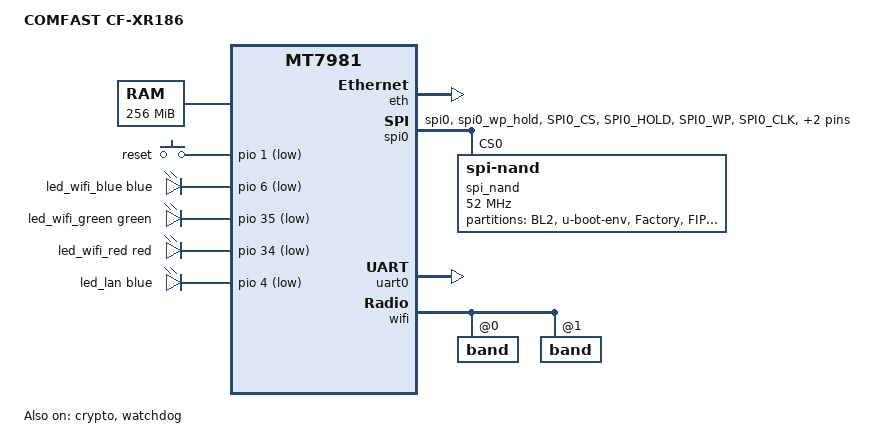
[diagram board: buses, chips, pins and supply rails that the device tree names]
// SPDX-License-Identifier: GPL-2.0-or-later OR MIT

/dts-v1/;
#include <dt-bindings/gpio/gpio.h>
#include <dt-bindings/input/input.h>
#include <dt-bindings/leds/common.h>

#include "mt7981b.dtsi"

/ {
	model = "COMFAST CF-XR186";
	compatible = "comfast,cf-xr186", "mediatek,mt7981";

	aliases {
		label-mac-device = &gmac1;
		serial0 = &uart0;
		led-boot = &led_wifi_red;
		led-failsafe = &led_wifi_red;
		led-upgrade = &led_wifi_red;
		led-running = &led_wifi_red;
	};

	chosen {
		bootargs-override = "console=ttyS0,115200n8";
		stdout-path = "serial0:115200n8";
	};

	memory@40000000 {
		reg = <0 0x40000000 0 0x10000000>;
		device_type = "memory";
	};

	gpio-keys {
		compatible = "gpio-keys";

		reset {
			label = "reset";
			linux,code = <KEY_RESTART>;
			gpios = <&pio 1 GPIO_ACTIVE_LOW>;
		};
	};

	leds {
		compatible = "gpio-leds";

		led_wifi_blue: wifi-blue {
			color = <LED_COLOR_ID_BLUE>;
			function = LED_FUNCTION_WLAN;
			gpios = <&pio 6 GPIO_ACTIVE_LOW>;
		};

		led_wifi_green: wifi-green {
			color = <LED_COLOR_ID_GREEN>;
			function = LED_FUNCTION_WLAN;
			gpios = <&pio 35 GPIO_ACTIVE_LOW>;
		};

		led_wifi_red: wifi-red {
			color = <LED_COLOR_ID_RED>;
			function = LED_FUNCTION_WLAN;
			gpios = <&pio 34 GPIO_ACTIVE_LOW>;
		};

		led_lan: lan-blue {
			color = <LED_COLOR_ID_BLUE>;
			function = LED_FUNCTION_LAN;
			gpios = <&pio 4 GPIO_ACTIVE_LOW>;
		};
	};
};

&crypto {
	status = "okay";
};

&eth {
	pinctrl-names = "default";
	pinctrl-0 = <&mdio_pins>;
	status = "okay";

	gmac1: mac@1 {
		compatible = "mediatek,eth-mac";
		reg = <1>;
		phy-mode = "gmii";
		phy-handle = <&int_gbe_phy>;
		nvmem-cells = <&macaddr_factory_e000 0>;
		nvmem-cell-names = "mac-address";
	};
};

&pio {
	spi0_flash_pins: spi0-pins {
		mux {
			function = "spi";
			groups = "spi0", "spi0_wp_hold";
		};
		conf-pu {
			pins = "SPI0_CS", "SPI0_HOLD", "SPI0_WP";
			drive-strength = <MTK_DRIVE_8mA>;
			bias-pull-up = <MTK_PUPD_SET_R1R0_11>;
		};
		conf-pd {
			pins = "SPI0_CLK", "SPI0_MOSI", "SPI0_MISO";
			drive-strength = <MTK_DRIVE_8mA>;
			bias-pull-down = <MTK_PUPD_SET_R1R0_11>;
		};
	};
};

&spi0 {
	pinctrl-names = "default";
	pinctrl-0 = <&spi0_flash_pins>;
	status = "okay";

	spi_nand: spi-nand@0 {
		compatible = "spi-nand";
		reg = <0>;
		spi-max-frequency = <52000000>;

		spi-cal-enable;
		spi-cal-mode = "read-data";
		spi-cal-datalen = <7>;
		spi-cal-data = /bits/ 8 <0x53 0x50 0x49 0x4E 0x41 0x4E 0x44>;
		spi-cal-addrlen = <5>;
		spi-cal-addr = /bits/ 32 <0x0 0x0 0x0 0x0 0x0>;

		spi-tx-bus-width = <4>;
		spi-rx-bus-width = <4>;
		mediatek,nmbm;
		mediatek,bmt-max-ratio = <1>;
		mediatek,bmt-max-reserved-blocks = <64>;

		partitions {
			compatible = "fixed-partitions";
			#address-cells = <1>;
			#size-cells = <1>;

			partition@0 {
				label = "BL2";
				reg = <0x00000 0x0100000>;
				read-only;
			};

			partition@100000 {
				label = "u-boot-env";
				reg = <0x0100000 0x0080000>;
				read-only;
			};

			partition@180000 {
				label = "Factory";
				reg = <0x180000 0x0200000>;
				read-only;

				nvmem-layout {
					compatible = "fixed-layout";
					#address-cells = <1>;
					#size-cells = <1>;

					eeprom_factory_0: eeprom@0 {
						reg = <0x0 0x1000>;
					};

					macaddr_factory_4: macaddr@4 {
						compatible = "mac-base";
						reg = <0x4 0x6>;
						#nvmem-cell-cells = <1>;
					};

					macaddr_factory_8000: macaddr@8000 {
						compatible = "mac-base";
						reg = <0x8000 0x6>;
						#nvmem-cell-cells = <1>;
					};

					macaddr_factory_e000: macaddr@e000 {
						compatible = "mac-base";
						reg = <0xe000 0x6>;
						#nvmem-cell-cells = <1>;
					};
				};
			};

			partition@380000 {
				label = "FIP";
				reg = <0x380000 0x0200000>;
				read-only;
			};

			partition@580000 {
				label = "ubi";
				reg = <0x580000 0x4000000>;
				compatible = "linux,ubi";
			};
		};
	};
};

&uart0 {
	status = "okay";
};

&watchdog {
	status = "okay";
};

&wifi {
	#address-cells = <1>;
	#size-cells = <0>;
	status = "okay";
	nvmem-cells = <&eeprom_factory_0>;
	nvmem-cell-names = "eeprom";

	band@0 {
		reg = <0>;
		nvmem-cells = <&macaddr_factory_4 0>;
		nvmem-cell-names = "mac-address";
	};

	band@1 {
		reg = <1>;
		nvmem-cells = <&macaddr_factory_8000 0>;
		nvmem-cell-names = "mac-address";
	};
};
